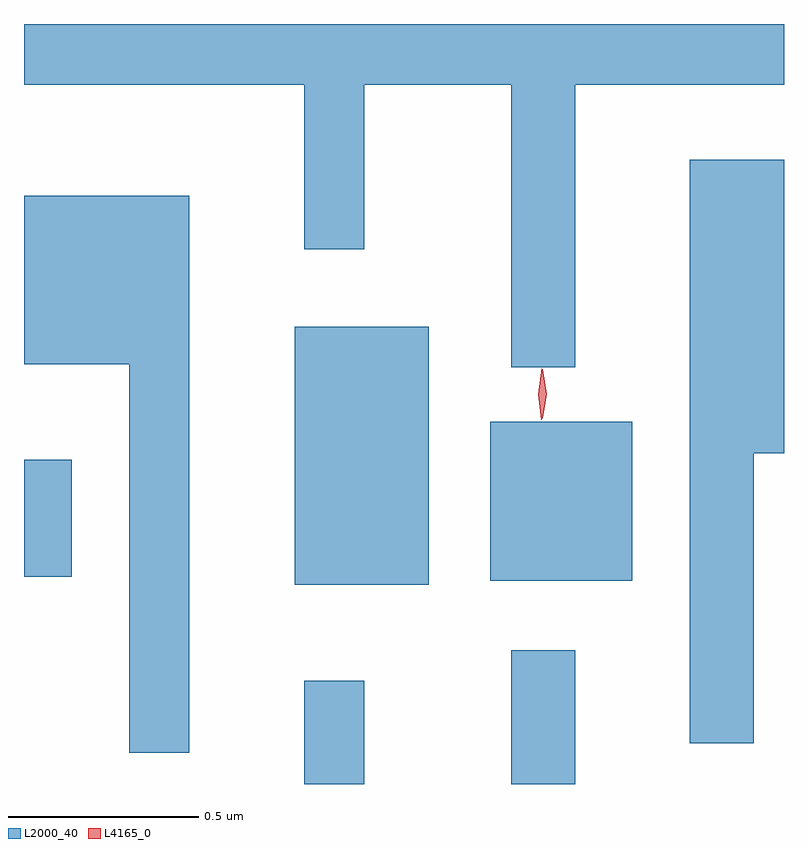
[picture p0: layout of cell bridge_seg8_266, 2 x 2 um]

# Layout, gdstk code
import gdstk
lib = gdstk.Library(unit=1e-6, precision=1e-09)
def R(c, l, rs):  # rectangles x0, y0, x1, y1
    for r in rs: c.add(gdstk.rectangle(r[:2], r[2:], *l))
def P(c, l, *ps):  # polygons
    for p in ps: c.add(gdstk.Polygon(p, *l))
L2000_40 = (2000, 40)
L4165_0 = (4165, 0)

bridge_seg8_266 = lib.new_cell('bridge_seg8_266')
R(bridge_seg8_266, L2000_40, [(1156.086,1832.356,1156.244,1832.628), (1156.631,1832.356,1156.799,1832.708), (1156.061,1832.881,1156.414,1833.559), (1156.576,1832.891,1156.949,1833.309), (1155.349,1832.901,1155.474,1833.209)])
P(bridge_seg8_266, L2000_40, [(1156.799,1834.196),(1157.349,1834.196),(1157.349,1834.356),(1155.349,1834.356),(1155.349,1834.196),(1156.086,1834.196),(1156.086,1833.763),(1156.244,1833.763),(1156.244,1834.196),(1156.631,1834.196),(1156.631,1833.453),(1156.799,1833.453)],
  [(1157.269,1833.226),(1157.349,1833.226),(1157.349,1833.999),(1157.101,1833.999),(1157.101,1832.463),(1157.269,1832.463)],
  [(1155.784,1833.904),(1155.349,1833.904),(1155.349,1833.461),(1155.626,1833.461),(1155.626,1832.438),(1155.784,1832.438)])
P(bridge_seg8_266, L4165_0, [(1156.71,1833.314),(1156.702,1833.382),(1156.711,1833.45),(1156.712,1833.45),(1156.712,1833.45),(1156.721,1833.382),(1156.712,1833.314),(1156.711,1833.314)],
  [(1156.713,1833.318),(1156.704,1833.382),(1156.713,1833.447),(1156.714,1833.447),(1156.714,1833.447),(1156.724,1833.382),(1156.714,1833.318),(1156.714,1833.318)])

lib.write_gds('bridge_seg8_266.gds')
